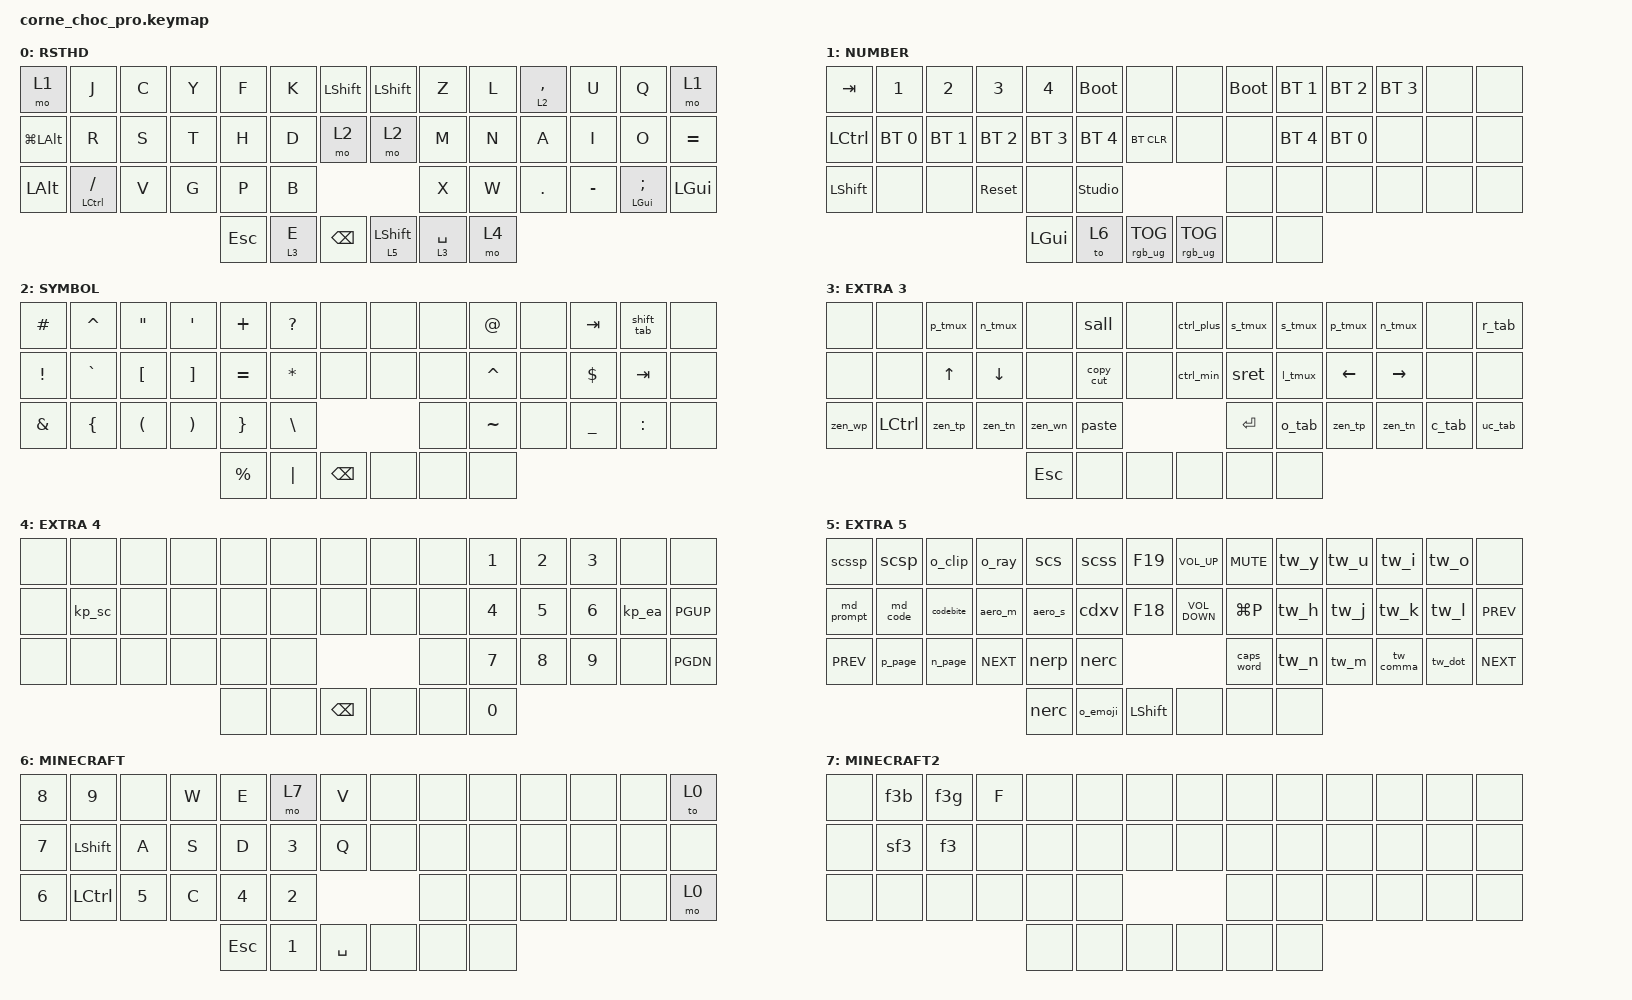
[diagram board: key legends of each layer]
/*
 * Copyright (c) 2020 The ZMK Contributors
 *
 * SPDX-License-Identifier: MIT
 */

#include <behaviors.dtsi>
#include <dt-bindings/zmk/keys.h>
#include <dt-bindings/zmk/bt.h>
#include <dt-bindings/zmk/rgb.h>

#define XXX &none

&sk {
    release-after-ms = <900>;
    quick-release;
};

/ {
    behaviors {
        // MACROS
        ///////////////

        // MACROS: Aerospace

        tw_y: tw_y {
            compatible = "zmk,behavior-macro";
            #binding-cells = <0>;
            wait-ms = <10>;
            tap-ms = <5>;
            bindings = <
                &kp LG(Y)
            >;
        };

        tw_u: tw_u {
            compatible = "zmk,behavior-macro";
            #binding-cells = <0>;
            wait-ms = <10>;
            tap-ms = <5>;
            bindings = <
                &kp LG(U)
            >;
        };

        tw_i: tw_i {
            compatible = "zmk,behavior-macro";
            #binding-cells = <0>;
            wait-ms = <10>;
            tap-ms = <5>;
            bindings = <
                &kp LG(I)
            >;
        };

        tw_o: tw_o {
            compatible = "zmk,behavior-macro";
            #binding-cells = <0>;
            wait-ms = <10>;
            tap-ms = <5>;
            bindings = <
                &kp LG(O)
            >;
        };

        tw_h: tw_h {
            compatible = "zmk,behavior-macro";
            #binding-cells = <0>;
            wait-ms = <10>;
            tap-ms = <5>;
            bindings = <
                &kp LG(H)
            >;
        };

        tw_j: tw_j {
            compatible = "zmk,behavior-macro";
            #binding-cells = <0>;
            wait-ms = <10>;
            tap-ms = <5>;
            bindings = <
                &kp LG(J)
            >;
        };

        tw_k: tw_k {
            compatible = "zmk,behavior-macro";
            #binding-cells = <0>;
            wait-ms = <10>;
            tap-ms = <5>;
            bindings = <
                &kp LG(K)
            >;
        };

        tw_l: tw_l {
            compatible = "zmk,behavior-macro";
            #binding-cells = <0>;
            wait-ms = <10>;
            tap-ms = <5>;
            bindings = <
                &kp LG(L)
            >;
        };

        tw_n: tw_n {
            compatible = "zmk,behavior-macro";
            #binding-cells = <0>;
            wait-ms = <10>;
            tap-ms = <5>;
            bindings = <
                &kp LG(N)
            >;
        };

        tw_m: tw_m {
            compatible = "zmk,behavior-macro";
            #binding-cells = <0>;
            wait-ms = <10>;
            tap-ms = <5>;
            bindings = <
                &kp LG(M)
            >;
        };

        tw_comma: tw_comma {
            compatible = "zmk,behavior-macro";
            #binding-cells = <0>;
            wait-ms = <10>;
            tap-ms = <5>;
            bindings = <
                &kp LG(COMMA)
            >;
        };

        tw_dot: tw_dot {
            compatible = "zmk,behavior-macro";
            #binding-cells = <0>;
            wait-ms = <10>;
            tap-ms = <5>;
            bindings = <
                &kp LG(DOT)
            >;
        };

        // MACROS: Basic

        sret: sret {
            compatible = "zmk,behavior-macro";
            #binding-cells = <0>;
            wait-ms = <10>;
            tap-ms = <5>;
            bindings = <&kp LS(RET)>;
        };

        copy_cut: copy_cut {
            compatible = "zmk,behavior-tap-dance";
            #binding-cells = <0>;
            tapping-term-ms = <200>;
            bindings = <&kp LC(C)>, <&kp LC(C) &kp BSPC>;
        };

        paste: paste {
            compatible = "zmk,behavior-macro";
            #binding-cells = <0>;
            wait-ms = <10>;
            tap-ms = <5>;
            bindings = <&kp LC(LS(V))>;
        };              

        sall: sall {
            compatible = "zmk,behavior-macro";
            #binding-cells = <0>;
            wait-ms = <10>;
            tap-ms = <5>;
            bindings = <&kp LC(A)>;
        };              

        p_tmux: p_tmux {
            compatible = "zmk,behavior-macro";
            #binding-cells = <0>;
            wait-ms = <10>;
            tap-ms = <5>;
            bindings = <&kp LC(A) &kp P>;
        };

        n_tmux: n_tmux {
            compatible = "zmk,behavior-macro";
            #binding-cells = <0>;
            wait-ms = <30>;
            tap-ms = <5>;
            bindings = <&kp LC(A) &kp N>;
        };

        s_tmux: s_tmux {
            compatible = "zmk,behavior-macro";
            #binding-cells = <0>;
            wait-ms = <10>;
            tap-ms = <5>;
            bindings = <&kp LC(A) &kp S>;
        };

        s2_tmux: s2_tmux {
            compatible = "zmk,behavior-macro";
            #binding-cells = <0>;
            wait-ms = <10>;
            tap-ms = <5>;
            bindings = <&kp LC(A) &kp S &kp UP &kp UP &kp RET>;
        };

        l_tmux: l_tmux {
            compatible = "zmk,behavior-macro";
            #binding-cells = <0>;
            wait-ms = <10>;
            tap-ms = <5>;
            bindings = <&kp LC(A) &kp L>;
        };

        o_tab:  o_tab {
            compatible = "zmk,behavior-macro";
            #binding-cells = <0>;
            wait-ms = <10>;
            tap-ms = <5>;
            bindings = <&kp LC(T)>;
        };

        c_tab:  c_tab {
            compatible = "zmk,behavior-macro";
            #binding-cells = <0>;
            wait-ms = <10>;
            tap-ms = <5>;
            bindings = <&kp LC(W)>;
        };

        r_tab:  r_tab {
            compatible = "zmk,behavior-macro";
            #binding-cells = <0>;
            wait-ms = <10>;
            tap-ms = <5>;
            bindings = <&kp LC(R)>;
        };

        uc_tab:  uc_tab {
            compatible = "zmk,behavior-macro";
            #binding-cells = <0>;
            wait-ms = <10>;
            tap-ms = <5>;
            bindings = <&kp LC(LS(T))>;
        };

        zen_tp:  zen_tp {
            compatible = "zmk,behavior-macro";
            #binding-cells = <0>;
            wait-ms = <10>;
            tap-ms = <5>;
            bindings = <&kp LC(LS(TAB))>;
        };

        zen_tn: zen_tn {
            compatible = "zmk,behavior-macro";
            #binding-cells = <0>;
            wait-ms = <10>;
            tap-ms = <5>;
            bindings = <&kp LC(TAB)>;
        };

        zen_wp: zen_wp {
            compatible = "zmk,behavior-macro";
            #binding-cells = <0>;
            wait-ms = <10>;
            tap-ms = <5>;
            bindings = <&kp LC(LS(LA(TAB)))>;
        };

        zen_wn: zen_wn {
            compatible = "zmk,behavior-macro";
            #binding-cells = <0>;
            wait-ms = <10>;
            tap-ms = <5>;
            bindings = <&kp LC(LA(TAB))>;
        };

        shift_tab: shift_tab {
            compatible = "zmk,behavior-macro";
            #binding-cells = <0>;
            wait-ms = <10>;
            tap-ms = <5>;
            bindings = <&kp LS(TAB)>;
        }; 

        p_page: p_page {
            compatible = "zmk,behavior-macro";
            #binding-cells = <0>;
            wait-ms = <10>;
            tap-ms = <5>;
            bindings = <&kp LA(LEFT)>;
        };

        n_page: n_page {
            compatible = "zmk,behavior-macro";
            #binding-cells = <0>;
            wait-ms = <10>;
            tap-ms = <5>;
            bindings = <&kp LA(RIGHT)>;
        };

        o_ray: o_ray {
            compatible = "zmk,behavior-macro";
            #binding-cells = <0>;
            wait-ms = <10>;
            tap-ms = <5>;
            bindings = <&kp LG(D)>;
        };

        o_clip: o_clip {
            compatible = "zmk,behavior-macro";
            #binding-cells = <0>;
            wait-ms = <10>;
            tap-ms = <5>;
            bindings = <&kp LG(C)>;
        };

        o_emoji: o_emoji {
            compatible = "zmk,behavior-macro";
            #binding-cells = <0>;
            wait-ms = <10>;
            tap-ms = <5>;
            bindings = <&kp LG(E)>;
        };

        scss: scss {
            compatible = "zmk,behavior-macro";
            #binding-cells = <0>;
            wait-ms = <10>;
            tap-ms = <5>;
            bindings = <&kp LG(LS(N4))>;
        };

        scs: scs {
            compatible = "zmk,behavior-macro";
            #binding-cells = <0>;
            wait-ms = <10>;
            tap-ms = <5>;
            bindings = <&kp LG(LS(N3))>;
        };

        scssp: scssp {
            compatible = "zmk,behavior-macro";
            #binding-cells = <0>;
            wait-ms = <10>;
            tap-ms = <5>;
            bindings = <&kp LG(LC(LS(N4)))>;
        };

        scsp: scsp {
            compatible = "zmk,behavior-macro";
            #binding-cells = <0>;
            wait-ms = <10>;
            tap-ms = <5>;
            bindings = <&kp LG(LC(LS(N3)))>;
        };

        nerp: nerp {
            compatible = "zmk,behavior-macro";
            #binding-cells = <0>;
            wait-ms = <10>;
            tap-ms = <5>;
            bindings = <&kp LG(LS(P))>;
        };

        nerc: nerc {
            compatible = "zmk,behavior-macro";
            #binding-cells = <0>;
            wait-ms = <10>;
            tap-ms = <5>;
            bindings = <&kp LG(LS(C))>;
        };

        cdxv: cdxv {
            compatible = "zmk,behavior-macro";
            #binding-cells = <0>;
            wait-ms = <0>;
            tap-ms = <0>;
            bindings
                = <&macro_press &kp LC(LS(D))>
                , <&macro_pause_for_release>
                , <&macro_release &kp LC(LS(D))>
                ;
        };

        aero_s: aero_s {
            compatible = "zmk,behavior-macro";
            #binding-cells = <0>;
            wait-ms = <10>;
            tap-ms = <5>;
            bindings = <&kp LA(FSLH)>;
        };

        aero_m: aero_m {
            compatible = "zmk,behavior-macro";
            #binding-cells = <0>;
            wait-ms = <10>;
            tap-ms = <5>;
            bindings = <&kp LA(DOT)>;
        };

        md_code: md_code {
          compatible = "zmk,behavior-macro";
          #binding-cells = <0>;
          wait-ms = <14>;
          tap-ms = <5>;
          bindings = <
              &kp LS(ENTER)
              &kp GRAVE
              &kp GRAVE
              &kp GRAVE
              &kp LS(ENTER)
              &kp LC(V)
              &kp DOWN
              &kp LS(ENTER)
              &kp GRAVE
              &kp GRAVE
              &kp GRAVE
              &kp LS(ENTER)
          >;
        };

        md_prompt: md_prompt {
          compatible = "zmk,behavior-macro";
          #binding-cells = <0>;
          wait-ms = <14>;
          tap-ms = <5>;
          bindings = <
              &kp LS(ENTER)
              &kp LS(ENTER)
              &kp HASH
              &kp HASH
              &kp HASH
              &kp SPACE
              &kp LS(P)
              &kp R
              &kp O
              &kp M
              &kp P
              &kp T
              &kp LS(ENTER)
              &kp LS(ENTER)
          >;
        };

        codebite: codebite {
          compatible = "zmk,behavior-macro";
          #binding-cells = <0>;
          wait-ms = <14>;
          tap-ms = <5>;
          bindings = <
              &kp GRAVE
              &kp LC(V)
              &kp GRAVE
              &kp SPACE
          >;
        };

        caps_word {
            compatible = "zmk,behavior-caps-word";
            #binding-cells = <0>;
            continue-list = <
                UNDERSCORE
                MINUS
                N1 N2 N3 N4 N5 N6 N7 N8 N9 N0
                BSPC DEL
                LEFT RIGHT UP DOWN
            >;
        };

        kp_ea: kp_ea {
            compatible = "zmk,behavior-macro";
            #binding-cells = <0>;
            wait-ms = <10>;
            tap-ms = <5>;
            bindings = <&kp E &kp A>;
        };

        kp_sc: kp_sc {
            compatible = "zmk,behavior-macro";
            #binding-cells = <0>;
            wait-ms = <10>;
            tap-ms = <5>;
            bindings = <&kp S &kp C>;
        };

        ctrl_min: ctrl_min {
            compatible = "zmk,behavior-macro";
            #binding-cells = <0>;
            wait-ms = <10>;
            tap-ms = <5>;
            bindings = <&kp LC(MINUS)>;
        };

        ctrl_plus: ctrl_plus {
            compatible = "zmk,behavior-macro";
            #binding-cells = <0>;
            wait-ms = <10>;
            tap-ms = <5>;
            bindings = <&kp LC(EQUAL)>;
        };

        f3: f3 {
            compatible = "zmk,behavior-macro";
            #binding-cells = <0>;
            wait-ms = <10>;
            tap-ms = <10>;
            bindings
                = <&macro_press &kp F13>
                , <&macro_tap &kp F3>
                , <&macro_release &kp F13>
                ;
        };

        sf3: sf3 {
            compatible = "zmk,behavior-macro";
            #binding-cells = <0>;
            wait-ms = <10>;
            tap-ms = <10>;
            bindings
                = <&macro_press &kp F13 &kp LSHFT>
                , <&macro_tap &kp F3>
                , <&macro_release &kp F13 &kp LSHFT>
                ;
        };

        f3g: f3g {
            compatible = "zmk,behavior-macro";
            #binding-cells = <0>;
            wait-ms = <10>;
            tap-ms = <10>;
            bindings
                = <&macro_press &kp F13 &kp F3>
                , <&macro_tap &kp G>
                , <&macro_release &kp F3 &kp F13>
                ;
        };

        f3b: f3b {
            compatible = "zmk,behavior-macro";
            #binding-cells = <0>;
            wait-ms = <10>;
            tap-ms = <10>;
            bindings
                = <&macro_press &kp F13 &kp F3>
                , <&macro_tap &kp B>
                , <&macro_release &kp F3 &kp F13>
                ;
        };





        // HOLD TAPS
        ///////////////

        htap: htap {
            compatible = "zmk,behavior-hold-tap";
            #binding-cells = <2>;
            flavor = "tap-preferred";
            tapping-term-ms = <180>;
            bindings = <&mo>, <&kp>;
        };

        ht_kp: ht_kp {
            compatible = "zmk,behavior-hold-tap";
            #binding-cells = <2>;
            flavor = "hold-preferred";
            tapping-term-ms = <180>;
            bindings = <&kp>, <&kp>;
        };

        ht_kp2: ht_kp2 {
            compatible = "zmk,behavior-hold-tap";
            #binding-cells = <2>;
            flavor = "hold-preferred";
            tapping-term-ms = <180>;
            bindings = <&kp>, <&kp>;
            hold-trigger-key-positions = <0 1 2 3 4 5 6 7 8 9 10 11 12 13 15 16 17 18 19 20 21 22 23 24 25 26 27 28 29 31 32 33 34 35 36 37 38 39 40 41 42 43 44 45>;
        };

        ht_sk: ht_sk {
            compatible = "zmk,behavior-hold-tap";
            #binding-cells = <2>;
            flavor = "tap-preferred";
            tapping-term-ms = <180>;
            bindings = <&mo>, <&sk>;
        };
    };
};

/ {
    combos {
        compatible = "zmk,combos";
        vg {
            timeout-ms = <100>;
            key-positions = <30 31>;
            layers = <0>;
            bindings = <&mo 4>;
        };
        slv {
            timeout-ms = <100>;
            key-positions = <29 30>;
            layers = <0>;
            bindings = <&mo 2>;
        };
        ctrlshft {
            timeout-ms = <100>;
            key-positions = <14 29>;
            layers = <0>;
            bindings = <&kp LSHFT &kp LCTRL>;
        };
    };
};

/ {
    chosen {
        zmk,physical-layout = &default_layout;
    };
};

#define ht_suse     &ht_kp LGUI SEMI
#define ht_5sh      &ht_sk 5 LSHFT
#define ht_ctsl     &ht_kp2 LCTRL FSLH

#define vold        &kp C_VOLUME_DOWN
#define volu        &kp C_VOLUME_UP
#define volm        &kp C_MUTE
#define playpause   &kp LG(P)

#define sfinder     &kp F14
#define brid        &kp F18
#define briu        &kp F19

#define play_p        &kp C_PREV
#define play_n        &kp C_NEXT

/ {
    keymap {
        compatible = "zmk,keymap";

        default_layer {                                                                                      
            display-name = "RSTHD";
            bindings = <
            //                                                                                            
            //╭─────────────┬─────────────┬─────────────┬─────────────┬─────────────┬─────────────┬─────────────╮       ╭─────────────┬─────────────┬─────────────┬─────────────┬─────────────┬─────────────┬─────────────╮
               &mo 1         &kp J         &kp C         &kp Y         &kp F         &kp K         &kp LSHFT             &kp LSHFT     &kp Z         &kp L         &htap 2 COMMA &kp U         &kp Q         &mo 1
            //├─────────────┼─────────────┼─────────────┼─────────────┼─────────────┼─────────────┼─────────────┤       ├─────────────┼─────────────┼─────────────┼─────────────┼─────────────┼─────────────┼─────────────┤
               &kp LG(LALT)  &kp R         &kp S         &kp T         &kp H         &kp D         &mo 2                 &mo 2         &kp M         &kp N         &kp A         &kp I         &kp O         &kp EQUAL
            //├─────────────┼─────────────┼─────────────┼─────────────┼─────────────┼─────────────┼─────────────╯       ╰─────────────┼─────────────┼─────────────┼─────────────┼─────────────┼─────────────┼─────────────┤
               &kp LALT      ht_ctsl       &kp V         &kp G         &kp P         &kp B                                             &kp X         &kp W         &kp DOT       &kp MINUS     ht_suse       &kp LGUI
            //╰─────────────┴─────────────┴─────────────┴─────────────┼─────────────┼─────────────┼─────────────╮       ╭─────────────┼─────────────┼─────────────┼─────────────┴─────────────┴─────────────┴─────────────╯
                                                                       &kp ESC       &htap 3 E     &kp BSPC              ht_5sh        &htap 3 SPACE &mo 4                                                              
            //                                                        ╰─────────────┴─────────────┴─────────────╯       ╰─────────────┴─────────────┴─────────────╯
            >;                                                                                                                   
        };                                                                            

        lower_layer {
            display-name = "NUMBER";
            bindings = <
            //
            //╭─────────────┬─────────────┬─────────────┬─────────────┬─────────────┬─────────────┬─────────────╮       ╭─────────────┬─────────────┬─────────────┬─────────────┬─────────────┬─────────────┬─────────────╮
               &kp TAB       &kp N1        &kp N2        &kp N3        &kp N4        &bootloader   XXX                   XXX           &bootloader   &bt BT_SEL 1  &bt BT_SEL 2  &bt BT_SEL 3  XXX           XXX
            //├─────────────┼─────────────┼─────────────┼─────────────┼─────────────┼─────────────┼─────────────┤       ├─────────────┼─────────────┼─────────────┼─────────────┼─────────────┼─────────────┼─────────────┤
               &kp LCTRL     &bt BT_SEL 0  &bt BT_SEL 1  &bt BT_SEL 2  &bt BT_SEL 3  &bt BT_SEL 4  &bt BT_CLR            XXX           XXX           &bt BT_SEL 4  &bt BT_SEL 0  XXX           XXX           XXX
            //├─────────────┼─────────────┼─────────────┼─────────────┼─────────────┼─────────────┼─────────────╯       ╰─────────────┼─────────────┼─────────────┼─────────────┼─────────────┼─────────────┼─────────────┤
               &kp LSHFT     XXX           XXX           &sys_reset    XXX           &studio_unlock                                    XXX           XXX           XXX           XXX           XXX           XXX
            //╰─────────────┴─────────────┴─────────────┴─────────────┼─────────────┼─────────────┼─────────────╮       ╭─────────────┼─────────────┼─────────────┼─────────────┴─────────────┴─────────────┴─────────────╯
                                                                       &kp LGUI      &to 6         &rgb_ug RGB_TOG       &rgb_ug RGB_TOG XXX         XXX
            //                                                        ╰─────────────┴─────────────┴─────────────╯       ╰─────────────┴─────────────┴─────────────╯
            >;
        };

        raise_layer {
            display-name = "SYMBOL";
            bindings = <
            //
            //╭─────────────┬─────────────┬─────────────┬─────────────┬─────────────┬─────────────┬─────────────╮       ╭─────────────┬─────────────┬─────────────┬─────────────┬─────────────┬─────────────┬─────────────╮
               &kp HASH      &kp CARET     &kp DQT       &kp SQT       &kp PLUS      &kp QMARK     XXX                   XXX           XXX           &kp AT        XXX           &kp TAB       &shift_tab    XXX
            //├─────────────┼─────────────┼─────────────┼─────────────┼─────────────┼─────────────┼─────────────┤       ├─────────────┼─────────────┼─────────────┼─────────────┼─────────────┼─────────────┼─────────────┤
               &kp EXCL      &kp GRAVE     &kp LBKT      &kp RBKT      &kp EQUAL     &kp STAR      XXX                   XXX           XXX           &kp CARET     XXX           &kp DLLR      &kp TAB       XXX
            //├─────────────┼─────────────┼─────────────┼─────────────┼─────────────┼─────────────┼─────────────╯       ╰─────────────┼─────────────┼─────────────┼─────────────┼─────────────┼─────────────┼─────────────┤
               &kp AMPS      &kp LBRC      &kp LPAR      &kp RPAR      &kp RBRC      &kp BSLH                                          XXX           &kp TILDE     XXX           &kp UNDER     &kp COLON     XXX
            //╰─────────────┴─────────────┴─────────────┴─────────────┼─────────────┼─────────────┼─────────────╮       ╭─────────────┼─────────────┼─────────────┼─────────────┴─────────────┴─────────────┴─────────────╯
                                                                       &kp PRCNT     &kp PIPE      &kp BSPC              XXX           XXX           XXX
            //                                                        ╰─────────────┴─────────────┴─────────────╯       ╰─────────────┴─────────────┴─────────────╯
            >;
        };
                                                                                                                                                        
        extra_layer_3 {
            display-name = "EXTRA 3";                                                                                                                                   
            bindings = <
            //
            //╭─────────────┬─────────────┬─────────────┬─────────────┬─────────────┬─────────────┬─────────────╮       ╭─────────────┬─────────────┬─────────────┬─────────────┬─────────────┬─────────────┬─────────────╮
               XXX           XXX           &p_tmux       &n_tmux       XXX           &sall         XXX                   &ctrl_plus    &s_tmux       &s_tmux       &p_tmux       &n_tmux       XXX           &r_tab
            //├─────────────┼─────────────┼─────────────┼─────────────┼─────────────┼─────────────┼─────────────┤       ├─────────────┼─────────────┼─────────────┼─────────────┼─────────────┼─────────────┼─────────────┤
               XXX           XXX           &kp UP        &kp DOWN      XXX           &copy_cut     XXX                   &ctrl_min     &sret         &l_tmux       &kp LEFT      &kp RIGHT     XXX           XXX
            //├─────────────┼─────────────┼─────────────┼─────────────┼─────────────┼─────────────┼─────────────╯       ╰─────────────┼─────────────┼─────────────┼─────────────┼─────────────┼─────────────┼─────────────┤
               &zen_wp       &kp LCTRL     &zen_tp       &zen_tn       &zen_wn       &paste                                            &kp RET       &o_tab        &zen_tp       &zen_tn       &c_tab        &uc_tab
            //╰─────────────┴─────────────┴─────────────┴─────────────┼─────────────┼─────────────┼─────────────╮       ╭─────────────┼─────────────┼─────────────┼─────────────┴─────────────┴─────────────┴─────────────╯
                                                                       &kp ESC       XXX           XXX                   XXX           XXX           XXX
            //                                                        ╰─────────────┴─────────────┴─────────────╯       ╰─────────────┴─────────────┴─────────────╯
            >;
        };

        extra_layer_4 {
            display-name = "EXTRA 4";
            bindings = <
            //
            //╭─────────────┬─────────────┬─────────────┬─────────────┬─────────────┬─────────────┬─────────────╮       ╭─────────────┬─────────────┬─────────────┬─────────────┬─────────────┬─────────────┬─────────────╮
               XXX           XXX           XXX           XXX           XXX           XXX           XXX                   XXX           XXX           &kp N1        &kp N2        &kp N3        XXX           XXX
            //├─────────────┼─────────────┼─────────────┼─────────────┼─────────────┼─────────────┼─────────────┤       ├─────────────┼─────────────┼─────────────┼─────────────┼─────────────┼─────────────┼─────────────┤
               XXX           &kp_sc        XXX           XXX           XXX           XXX           XXX                   XXX           XXX           &kp N4        &kp N5        &kp N6        &kp_ea        &kp PGUP
            //├─────────────┼─────────────┼─────────────┼─────────────┼─────────────┼─────────────┼─────────────╯       ╰─────────────┼─────────────┼─────────────┼─────────────┼─────────────┼─────────────┼─────────────┤
               XXX           XXX           XXX           XXX           XXX           XXX                                               XXX           &kp N7        &kp N8        &kp N9        XXX           &kp PGDN
            //╰─────────────┴─────────────┴─────────────┴─────────────┼─────────────┼─────────────┼─────────────╮       ╭─────────────┼─────────────┼─────────────┼─────────────┴─────────────┴─────────────┴─────────────╯
                                                                       XXX           XXX           &kp BSPC              XXX           XXX           &kp N0
            //                                                        ╰─────────────┴─────────────┴─────────────╯       ╰─────────────┴─────────────┴─────────────╯
            >;                                                                                                                                                                              
        };

        extra_layer_5 {
            display-name = "EXTRA 5";
            bindings = <
            //
            //╭─────────────┬─────────────┬─────────────┬─────────────┬─────────────┬─────────────┬─────────────╮       ╭─────────────┬─────────────┬─────────────┬─────────────┬─────────────┬─────────────┬─────────────╮
               &scssp        &scsp         &o_clip       &o_ray        &scs          &scss         briu                  volu          volm          &tw_y         &tw_u         &tw_i         &tw_o         XXX
            //├─────────────┼─────────────┼─────────────┼─────────────┼─────────────┼─────────────┼─────────────┤       ├─────────────┼─────────────┼─────────────┼─────────────┼─────────────┼─────────────┼─────────────┤
               &md_prompt    &md_code      &codebite     &aero_m       &aero_s       &cdxv         brid                  vold          playpause     &tw_h         &tw_j         &tw_k         &tw_l         play_p
            //├─────────────┼─────────────┼─────────────┼─────────────┼─────────────┼─────────────┼─────────────╯       ╰─────────────┼─────────────┼─────────────┼─────────────┼─────────────┼─────────────┼─────────────┤
               play_p        &p_page       &n_page       play_n        &nerp         &nerc                                             &caps_word    &tw_n         &tw_m         &tw_comma     &tw_dot       play_n
            //╰─────────────┴─────────────┴─────────────┴─────────────┼─────────────┼─────────────┼─────────────╮       ╭─────────────┼─────────────┼─────────────┼─────────────┴─────────────┴─────────────┴─────────────╯
                                                                       &nerc         &o_emoji      &kp LSHFT             XXX           XXX           XXX
            //                                                        ╰─────────────┴─────────────┴─────────────╯       ╰─────────────┴─────────────┴─────────────╯
            >;
        };

        extra_layer_6 {
            display-name = "MINECRAFT";
            bindings = <
            //
            //╭─────────────┬─────────────┬─────────────┬─────────────┬─────────────┬─────────────┬─────────────╮       ╭─────────────┬─────────────┬─────────────┬─────────────┬─────────────┬─────────────┬─────────────╮
               &kp N8        &kp N9        XXX           &kp W         &kp E         &mo 7         &kp V                 XXX           XXX           XXX           XXX           XXX           XXX           &to 0
            //├─────────────┼─────────────┼─────────────┼─────────────┼─────────────┼─────────────┼─────────────┤       ├─────────────┼─────────────┼─────────────┼─────────────┼─────────────┼─────────────┼─────────────┤
               &kp N7        &kp LSHFT     &kp A         &kp S         &kp D         &kp N3        &kp Q                 XXX           XXX           XXX           XXX           XXX           XXX           XXX
            //├─────────────┼─────────────┼─────────────┼─────────────┼─────────────┼─────────────┼─────────────╯       ╰─────────────┼─────────────┼─────────────┼─────────────┼─────────────┼─────────────┼─────────────┤
               &kp N6        &kp LCTRL     &kp N5        &kp C         &kp N4        &kp N2                                            XXX           XXX           XXX           XXX           XXX           &mo 0
            //╰─────────────┴─────────────┴─────────────┴─────────────┼─────────────┼─────────────┼─────────────╮       ╭─────────────┼─────────────┼─────────────┼─────────────┴─────────────┴─────────────┴─────────────╯
                                                                       &kp ESC       &kp N1        &kp SPACE             XXX           XXX           XXX
            //                                                        ╰─────────────┴─────────────┴─────────────╯       ╰─────────────┴─────────────┴─────────────╯
            >;
        };

        extra_layer_7 {
            display-name = "MINECRAFT2";
            bindings = <
            //
            //╭─────────────┬─────────────┬─────────────┬─────────────┬─────────────┬─────────────┬─────────────╮       ╭─────────────┬─────────────┬─────────────┬─────────────┬─────────────┬─────────────┬─────────────╮
               XXX           &f3b          &f3g          &kp F         XXX           XXX           XXX                   XXX           XXX           XXX           XXX           XXX           XXX           XXX
            //├─────────────┼─────────────┼─────────────┼─────────────┼─────────────┼─────────────┼─────────────┤       ├─────────────┼─────────────┼─────────────┼─────────────┼─────────────┼─────────────┼─────────────┤
               XXX           &sf3          &f3           XXX           XXX           XXX           XXX                   XXX           XXX           XXX           XXX           XXX           XXX           XXX
            //├─────────────┼─────────────┼─────────────┼─────────────┼─────────────┼─────────────┼─────────────╯       ╰─────────────┼─────────────┼─────────────┼─────────────┼─────────────┼─────────────┼─────────────┤
               XXX           XXX           XXX           XXX           XXX           XXX                                               XXX           XXX           XXX           XXX           XXX           XXX
            //╰─────────────┴─────────────┴─────────────┴─────────────┼─────────────┼─────────────┼─────────────╮       ╭─────────────┼─────────────┼─────────────┼─────────────┴─────────────┴─────────────┴─────────────╯
                                                                       XXX           XXX           XXX                   XXX           XXX           XXX
            //                                                        ╰─────────────┴─────────────┴─────────────╯       ╰─────────────┴─────────────┴─────────────╯
            >;
        };
    };
};
